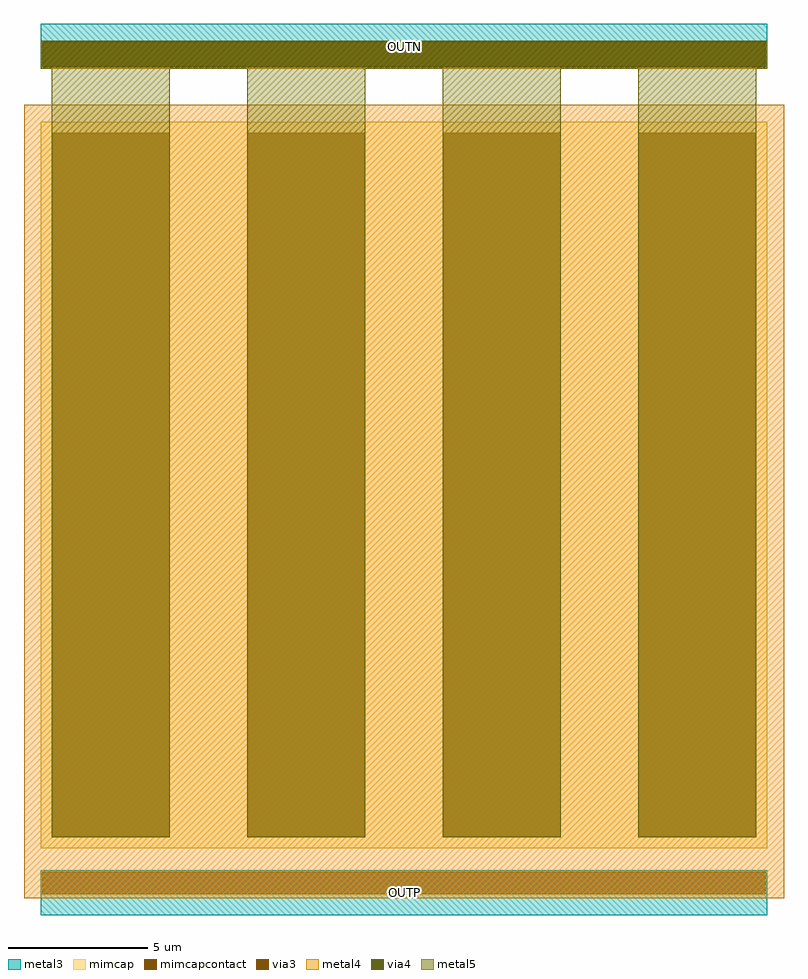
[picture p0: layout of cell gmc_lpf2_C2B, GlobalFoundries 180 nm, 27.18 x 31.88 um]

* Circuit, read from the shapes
.subckt gmc_lpf2_C2B OUTN OUTP
XC1 OUTN OUTP cap_mim_2f0fF c_width=25.98u c_length=25.98u
.ends

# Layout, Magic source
magic
tech gf180mcuD
magscale 1 10
<< metal3 >>
rect 0 -340 5196 -160
rect 0 5576 5196 5776
rect 0 5576 5196 5896
rect 0 5576 5196 5896
rect 0 -480 5196 -160
rect 0 -480 5196 -160
<< metal4 >>
rect -120 -360 5316 5316
rect 0 -340 5196 -160
rect 0 5576 5196 5776
rect 0 5576 5196 5776
<< mimcap >>
rect 0 0 5196 5196
<< metal5 >>
rect 78 78 922 5676
rect 1477 78 2321 5676
rect 2875 78 3719 5676
rect 4274 78 5118 5676
rect 0 5576 5196 5776
rect 0 5576 5196 5776
<< via3 >>
rect 10 -330 5186 -170
rect 10 5586 5186 5766
<< via4 >>
rect 10 5586 5186 5766
<< mimcapcontact >>
rect 78 78 922 5118
rect 1477 78 2321 5118
rect 2875 78 3719 5118
rect 4274 78 5118 5118
<< labels >>
flabel metal3 s 0 5576 5196 5896 0 FreeSans 80 0 0 0 OUTN
port 1 nsew signal bidirectional
flabel metal3 s 0 -480 5196 -160 0 FreeSans 80 0 0 0 OUTP
port 2 nsew signal bidirectional
<< end >>
